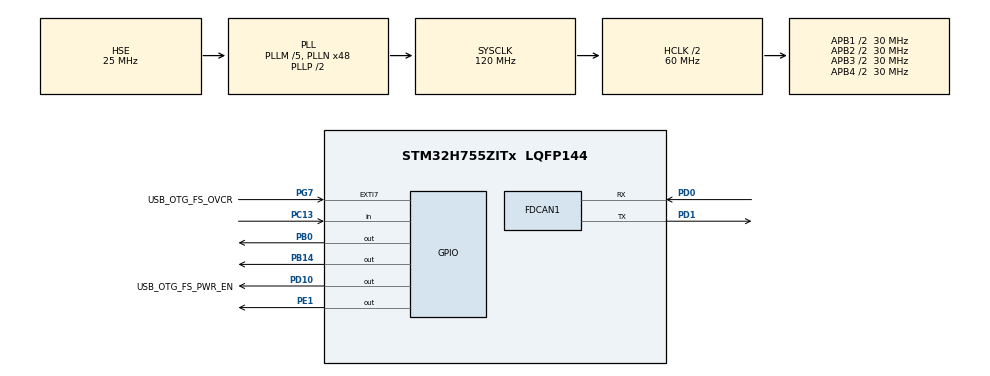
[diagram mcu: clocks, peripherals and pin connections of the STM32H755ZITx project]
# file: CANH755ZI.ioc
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CortexM4.IPs=FATFS_M4\:I,FREERTOS_M4\:I,IWDG2\:I,RCC,WWDG2\:I,DMA,BDMA,MDMA,NVIC2\:I,ETH,USART3,DEBUG,PDM2PCM_M4\:I,PWR,RESMGR_UTILITY,SYS_M4\:I,USB_DEVICE_M4\:I,USB_HOST_M4\:I,CORTEX_M4\:I,GPIO,OPENAMP_M4\:I,VREFBUF,NUCLEO-H755ZI-Q
CortexM7.IPs=FATFS_M7\:I,FREERTOS_M7\:I,IWDG1\:I,RCC\:I,WWDG1\:I,DMA\:I,BDMA\:I,MDMA\:I,NVIC1\:I,ETH\:I,USART3\:I,USB_OTG_FS\:I,SYS\:I,CORTEX_M7\:I,DEBUG\:I,PDM2PCM_M7\:I,PWR\:I,RESMGR_UTILITY\:I,USB_DEVICE_M7\:I,USB_HOST_M7\:I,GPIO\:I,OPENAMP_M7\:I,VREFBUF\:I,NUCLEO-H755ZI-Q\:I,FDCAN1\:I
FDCAN1.AutoRetransmission=ENABLE
FDCAN1.CalculateBaudRateNominal=625000
FDCAN1.CalculateTimeBitNominal=1600
FDCAN1.CalculateTimeQuantumNominal=40.0
FDCAN1.NominalPrescaler=1
FDCAN1.NominalSyncJumpWidth=0x8
FDCAN1.NominalTimeSeg1=0x1F
FDCAN1.NominalTimeSeg2=0x8
FDCAN1.RxFifo0ElmtsNbr=1
FDCAN1.StdFiltersNbr=1
FDCAN1.TxFifoQueueElmtsNbr=1
Mcu.Family=STM32H7
Mcu.Name=STM32H755ZITx
Mcu.Package=LQFP144
NUCLEO-H755ZI-Q.BUTTON=1
NUCLEO-H755ZI-Q.Bsp_Common_DEMO=true
NUCLEO-H755ZI-Q.LD1=true
NUCLEO-H755ZI-Q.LD2=true
NUCLEO-H755ZI-Q.LD3=true
NUCLEO-H755ZI-Q.VCP=true
NVIC1.EXTI15_10_IRQn=true\:0\:0\:false\:false\:true\:false\:true\:true
NVIC1.PriorityGroup=NVIC_PRIORITYGROUP_4
NVIC2.PriorityGroup=NVIC_PRIORITYGROUP_4
PA1.PinAttribute=CortexM7
PA1.Signal=ETH_REF_CLK
PA11.PinAttribute=CortexM7
PA11.Signal=USB_OTG_FS_DM
PA12.PinAttribute=CortexM7
PA12.Signal=USB_OTG_FS_DP
PA2.PinAttribute=CortexM7
PA2.Signal=ETH_MDIO
PA7.PinAttribute=CortexM7
PA7.Signal=ETH_CRS_DV
PA8.PinAttribute=CortexM7
PA8.Signal=USB_OTG_FS_SOF
PA9.PinAttribute=CortexM7
PA9.Signal=USB_OTG_FS_VBUS
PB0.Signal=GPIO_Output
PB13.PinAttribute=CortexM7
PB13.Signal=ETH_TXD1
PB14.Signal=GPIO_Output
PC1.PinAttribute=CortexM7
PC1.Signal=ETH_MDC
PC13.Signal=GPIO_Input
PC14-OSC32_IN\ (OSC32_IN).PinAttribute=Free
PC14-OSC32_IN\ (OSC32_IN).Signal=RCC_OSC32_IN
PC15-OSC32_OUT\ (OSC32_OUT).PinAttribute=Free
PC15-OSC32_OUT\ (OSC32_OUT).Signal=RCC_OSC32_OUT
PC4.PinAttribute=CortexM7
PC4.Signal=ETH_RXD0
PC5.PinAttribute=CortexM7
PC5.Signal=ETH_RXD1
PD0.Mode=FDCAN_Activate
PD0.PinAttribute=CortexM7
PD0.Signal=FDCAN1_RX
PD1.Mode=FDCAN_Activate
PD1.PinAttribute=CortexM7
PD1.Signal=FDCAN1_TX
PD10.GPIO_Label=USB_OTG_FS_PWR_EN
PD10.PinAttribute=Free
PD10.Signal=GPIO_Output
PD8.Signal=USART3_TX
PD9.Signal=USART3_RX
PE1.Signal=GPIO_Output
PG11.PinAttribute=CortexM7
PG11.Signal=ETH_TX_EN
PG13.PinAttribute=CortexM7
PG13.Signal=ETH_TXD0
PG7.GPIO_Label=USB_OTG_FS_OVCR
PG7.PinAttribute=Free
PG7.Signal=GPXTI7
PH0-OSC_IN\ (PH0).Mode=HSE-External-Oscillator
PH0-OSC_IN\ (PH0).PinAttribute=Free
PH0-OSC_IN\ (PH0).Signal=RCC_OSC_IN
PH1-OSC_OUT\ (PH1).Mode=HSE-External-Oscillator
PH1-OSC_OUT\ (PH1).PinAttribute=Free
PH1-OSC_OUT\ (PH1).Signal=RCC_OSC_OUT
ProjectManager.HeapSize=M4-0x200,M7-0x200
ProjectManager.StackSize=M4-0x400,M7-0x400
ProjectManager.TargetToolchain=STM32CubeIDE
RCC.ADCFreq_Value=50390625
RCC.APB1Freq_Value=30000000
RCC.APB2Freq_Value=30000000
RCC.APB3Freq_Value=30000000
RCC.APB4Freq_Value=30000000
RCC.CortexFreq_Value=120000000
RCC.D1PPRE=RCC_APB3_DIV2
RCC.D2PPRE1=RCC_APB1_DIV2
RCC.D2PPRE2=RCC_APB2_DIV2
RCC.D3PPRE=RCC_APB4_DIV2
RCC.DIVM1=5
RCC.DIVN1=48
RCC.DIVQ1=5
RCC.FDCANCLockSelection=RCC_FDCANCLKSOURCE_HSE
RCC.HCLKFreq_Value=60000000
RCC.HPRE=RCC_HCLK_DIV2
RCC.PLL2FRACN=0
RCC.PLL3FRACN=0
RCC.PLLFRACN=0
RCC.PLLSourceVirtual=RCC_PLLSOURCE_HSE
RCC.SYSCLKFreq_VALUE=120000000
RCC.SYSCLKSource=RCC_SYSCLKSOURCE_PLLCLK
RCC.SupplySource=PWR_DIRECT_SMPS_SUPPLY
RCC.USBFreq_Value=48000000
VP_NUCLEO-H755ZI-Q_VS_BSP_COMMON.Mode=COMMON
VP_SYS_M4_VS_Systick.Mode=SysTick
board=NUCLEO-H755ZI-Q

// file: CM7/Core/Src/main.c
/* USER CODE BEGIN Header */
/**
 ******************************************************************************
 * @file           : main.c
 * @brief          : Main program body
 ******************************************************************************
 * @attention
 *
 * Copyright (c) 2024 STMicroelectronics.
 * All rights reserved.
 *
 * This software is licensed under terms that can be found in the LICENSE file
 * in the root directory of this software component.
 * If no LICENSE file comes with this software, it is provided AS-IS.
 *
 ******************************************************************************
 */
/* USER CODE END Header */
#include "main.h"

/* USER CODE BEGIN PD */

#ifndef HSEM_ID_0
#define HSEM_ID_0 (0U) /* HW semaphore 0*/
#endif

/* USER CODE END PD */

COM_InitTypeDef BspCOMInit;
__IO uint32_t BspButtonState = BUTTON_RELEASED;

FDCAN_HandleTypeDef hfdcan1;

/* USER CODE BEGIN PV */
FDCAN_TxHeaderTypeDef TxHeader;
uint8_t TxData[8];

/* USER CODE END PV */

void SystemClock_Config(void);
static void MX_GPIO_Init(void);
static void MX_FDCAN1_Init(void);

int main(void)
{

/* USER CODE BEGIN Boot_Mode_Sequence_0 */
	int32_t timeout;
/* USER CODE END Boot_Mode_Sequence_0 */

/* USER CODE BEGIN Boot_Mode_Sequence_1 */
	/* Wait until CPU2 boots and enters in stop mode or timeout*/
	timeout = 0xFFFF;
	while ((__HAL_RCC_GET_FLAG(RCC_FLAG_D2CKRDY) != RESET) && (timeout-- > 0))
		;
	if (timeout < 0) {
		Error_Handler();
	}
/* USER CODE END Boot_Mode_Sequence_1 */
  /* MCU Configuration--------------------------------------------------------*/

  /* Reset of all peripherals, Initializes the Flash interface and the Systick. */
  HAL_Init();

  /* Configure the system clock */
  SystemClock_Config();
/* USER CODE BEGIN Boot_Mode_Sequence_2 */
	/* When system initialization is finished, Cortex-M7 will release Cortex-M4 by means of
	 HSEM notification */
	/*HW semaphore Clock enable*/
	__HAL_RCC_HSEM_CLK_ENABLE();
	/*Take HSEM */
	HAL_HSEM_FastTake(HSEM_ID_0);
	/*Release HSEM in order to notify the CPU2(CM4)*/
	HAL_HSEM_Release(HSEM_ID_0, 0);
	/* wait until CPU2 wakes up from stop mode */
	timeout = 0xFFFF;
	while ((__HAL_RCC_GET_FLAG(RCC_FLAG_D2CKRDY) == RESET) && (timeout-- > 0))
		;
	if (timeout < 0) {
		Error_Handler();
	}
/* USER CODE END Boot_Mode_Sequence_2 */

  /* Initialize all configured peripherals */
  MX_GPIO_Init();
  MX_FDCAN1_Init();

  /* Initialize leds */
  BSP_LED_Init(LED_GREEN);
  BSP_LED_Init(LED_YELLOW);
  BSP_LED_Init(LED_RED);

  /* Initialize USER push-button, will be used to trigger an interrupt each time it's pressed.*/
  BSP_PB_Init(BUTTON_USER, BUTTON_MODE_EXTI);

  /* Initialize COM1 port (115200, 8 bits (7-bit data + 1 stop bit), no parity */
  BspCOMInit.BaudRate   = 115200;
  BspCOMInit.WordLength = COM_WORDLENGTH_8B;
  BspCOMInit.StopBits   = COM_STOPBITS_1;
  BspCOMInit.Parity     = COM_PARITY_NONE;
  BspCOMInit.HwFlowCtl  = COM_HWCONTROL_NONE;
  if (BSP_COM_Init(COM1, &BspCOMInit) != BSP_ERROR_NONE)
  {
    Error_Handler();
  }

  /* USER CODE BEGIN BSP */
	/* -- Sample board code to send message over COM1 port ---- */
	printf("Welcome to STM32 world !\n\r");
	/* -- Sample board code to switch on leds ---- */
	BSP_LED_On(LED_GREEN);
	BSP_LED_On(LED_YELLOW);
	BSP_LED_On(LED_RED);
  /* USER CODE END BSP */

  /* Infinite loop */
  /* USER CODE BEGIN WHILE */
	while (1) {

		/* -- Sample board code for User push-button in interrupt mode ---- */
		if (BspButtonState == BUTTON_PRESSED) {
			/* Update button state */
			BspButtonState = BUTTON_RELEASED;
			/* -- Sample board code to toggle leds ---- */
			BSP_LED_Toggle(LED_GREEN);
			BSP_LED_Toggle(LED_YELLOW);
			BSP_LED_Toggle(LED_RED);
			/* ..... Perform your action ..... */
		}

		TxData[0] = 0xA;
		TxData[1] = 0xAD;

		/* Start the Transmission process */
		if (HAL_FDCAN_AddMessageToTxFifoQ(&hfdcan1, &TxHeader, TxData)
				!= HAL_OK) {
			/* Transmission request Error */
			Error_Handler();
		}
		HAL_Delay(10);
    /* USER CODE END WHILE */

	}
}

void SystemClock_Config(void)
{
  RCC_OscInitTypeDef RCC_OscInitStruct = {0};
  RCC_ClkInitTypeDef RCC_ClkInitStruct = {0};

  /** Supply configuration update enable
  */
  HAL_PWREx_ConfigSupply(PWR_DIRECT_SMPS_SUPPLY);

  /** Configure the main internal regulator output voltage
  */
  __HAL_PWR_VOLTAGESCALING_CONFIG(PWR_REGULATOR_VOLTAGE_SCALE3);

  while(!__HAL_PWR_GET_FLAG(PWR_FLAG_VOSRDY)) {}

  /** Initializes the RCC Oscillators according to the specified parameters
  * in the RCC_OscInitTypeDef structure.
  */
  RCC_OscInitStruct.OscillatorType = RCC_OSCILLATORTYPE_HSE;
  RCC_OscInitStruct.HSEState = RCC_HSE_ON;
  RCC_OscInitStruct.PLL.PLLState = RCC_PLL_ON;
  RCC_OscInitStruct.PLL.PLLSource = RCC_PLLSOURCE_HSE;
  RCC_OscInitStruct.PLL.PLLM = 5;
  RCC_OscInitStruct.PLL.PLLN = 48;
  RCC_OscInitStruct.PLL.PLLP = 2;
  RCC_OscInitStruct.PLL.PLLQ = 5;
  RCC_OscInitStruct.PLL.PLLR = 2;
  RCC_OscInitStruct.PLL.PLLRGE = RCC_PLL1VCIRANGE_2;
  RCC_OscInitStruct.PLL.PLLVCOSEL = RCC_PLL1VCOWIDE;
  RCC_OscInitStruct.PLL.PLLFRACN = 0;
  if (HAL_RCC_OscConfig(&RCC_OscInitStruct) != HAL_OK)
  {
    Error_Handler();
  }

  /** Initializes the CPU, AHB and APB buses clocks
  */
  RCC_ClkInitStruct.ClockType = RCC_CLOCKTYPE_HCLK|RCC_CLOCKTYPE_SYSCLK
                              |RCC_CLOCKTYPE_PCLK1|RCC_CLOCKTYPE_PCLK2
                              |RCC_CLOCKTYPE_D3PCLK1|RCC_CLOCKTYPE_D1PCLK1;
  RCC_ClkInitStruct.SYSCLKSource = RCC_SYSCLKSOURCE_PLLCLK;
  RCC_ClkInitStruct.SYSCLKDivider = RCC_SYSCLK_DIV1;
  RCC_ClkInitStruct.AHBCLKDivider = RCC_HCLK_DIV2;
  RCC_ClkInitStruct.APB3CLKDivider = RCC_APB3_DIV2;
  RCC_ClkInitStruct.APB1CLKDivider = RCC_APB1_DIV2;
  RCC_ClkInitStruct.APB2CLKDivider = RCC_APB2_DIV2;
  RCC_ClkInitStruct.APB4CLKDivider = RCC_APB4_DIV2;

  if (HAL_RCC_ClockConfig(&RCC_ClkInitStruct, FLASH_LATENCY_1) != HAL_OK)
  {
    Error_Handler();
  }
}

static void MX_FDCAN1_Init(void)
{

  hfdcan1.Instance = FDCAN1;
  hfdcan1.Init.FrameFormat = FDCAN_FRAME_CLASSIC;
  hfdcan1.Init.Mode = FDCAN_MODE_NORMAL;
  hfdcan1.Init.AutoRetransmission = ENABLE;
  hfdcan1.Init.TransmitPause = DISABLE;
  hfdcan1.Init.ProtocolException = DISABLE;
  hfdcan1.Init.NominalPrescaler = 1;
  hfdcan1.Init.NominalSyncJumpWidth = 0x8;
  hfdcan1.Init.NominalTimeSeg1 = 0x1F;
  hfdcan1.Init.NominalTimeSeg2 = 0x8;
  hfdcan1.Init.DataPrescaler = 1;
  hfdcan1.Init.DataSyncJumpWidth = 1;
  hfdcan1.Init.DataTimeSeg1 = 1;
  hfdcan1.Init.DataTimeSeg2 = 1;
  hfdcan1.Init.MessageRAMOffset = 0;
  hfdcan1.Init.StdFiltersNbr = 1;
  hfdcan1.Init.ExtFiltersNbr = 0;
  hfdcan1.Init.RxFifo0ElmtsNbr = 1;
  hfdcan1.Init.RxFifo0ElmtSize = FDCAN_DATA_BYTES_8;
  hfdcan1.Init.RxFifo1ElmtsNbr = 0;
  hfdcan1.Init.RxFifo1ElmtSize = FDCAN_DATA_BYTES_8;
  hfdcan1.Init.RxBuffersNbr = 0;
  hfdcan1.Init.RxBufferSize = FDCAN_DATA_BYTES_8;
  hfdcan1.Init.TxEventsNbr = 0;
  hfdcan1.Init.TxBuffersNbr = 0;
  hfdcan1.Init.TxFifoQueueElmtsNbr = 1;
  hfdcan1.Init.TxFifoQueueMode = FDCAN_TX_FIFO_OPERATION;
  hfdcan1.Init.TxElmtSize = FDCAN_DATA_BYTES_8;
  if (HAL_FDCAN_Init(&hfdcan1) != HAL_OK)
  {
    Error_Handler();
  }
  /* USER CODE BEGIN FDCAN1_Init 2 */

	if (HAL_FDCAN_Start(&hfdcan1) != HAL_OK) {
		/* Start Error */
		Error_Handler();
	}

	TxHeader.Identifier = 0x321;
	TxHeader.IdType = FDCAN_STANDARD_ID;
	TxHeader.TxFrameType = FDCAN_DATA_FRAME;
	TxHeader.DataLength = FDCAN_DLC_BYTES_2;
	TxHeader.ErrorStateIndicator = FDCAN_ESI_ACTIVE;
	TxHeader.BitRateSwitch = FDCAN_BRS_OFF;
	TxHeader.FDFormat = FDCAN_CLASSIC_CAN;
	TxHeader.TxEventFifoControl = FDCAN_NO_TX_EVENTS;
	TxHeader.MessageMarker = 0;

  /* USER CODE END FDCAN1_Init 2 */

}

static void MX_GPIO_Init(void)
{
  GPIO_InitTypeDef GPIO_InitStruct = {0};

  /* GPIO Ports Clock Enable */
  __HAL_RCC_GPIOC_CLK_ENABLE();
  __HAL_RCC_GPIOA_CLK_ENABLE();
  __HAL_RCC_GPIOB_CLK_ENABLE();
  __HAL_RCC_GPIOD_CLK_ENABLE();
  __HAL_RCC_GPIOG_CLK_ENABLE();

  /*Configure GPIO pins : PC1 PC4 PC5 */
  GPIO_InitStruct.Pin = GPIO_PIN_1|GPIO_PIN_4|GPIO_PIN_5;
  GPIO_InitStruct.Mode = GPIO_MODE_AF_PP;
  GPIO_InitStruct.Pull = GPIO_NOPULL;
  GPIO_InitStruct.Speed = GPIO_SPEED_FREQ_LOW;
  GPIO_InitStruct.Alternate = GPIO_AF11_ETH;
  HAL_GPIO_Init(GPIOC, &GPIO_InitStruct);

  /*Configure GPIO pins : PA1 PA2 PA7 */
  GPIO_InitStruct.Pin = GPIO_PIN_1|GPIO_PIN_2|GPIO_PIN_7;
  GPIO_InitStruct.Mode = GPIO_MODE_AF_PP;
  GPIO_InitStruct.Pull = GPIO_NOPULL;
  GPIO_InitStruct.Speed = GPIO_SPEED_FREQ_LOW;
  GPIO_InitStruct.Alternate = GPIO_AF11_ETH;
  HAL_GPIO_Init(GPIOA, &GPIO_InitStruct);

  /*Configure GPIO pin : PB13 */
  GPIO_InitStruct.Pin = GPIO_PIN_13;
  GPIO_InitStruct.Mode = GPIO_MODE_AF_PP;
  GPIO_InitStruct.Pull = GPIO_NOPULL;
  GPIO_InitStruct.Speed = GPIO_SPEED_FREQ_LOW;
  GPIO_InitStruct.Alternate = GPIO_AF11_ETH;
  HAL_GPIO_Init(GPIOB, &GPIO_InitStruct);

  /*Configure GPIO pins : PA8 PA11 PA12 */
  GPIO_InitStruct.Pin = GPIO_PIN_8|GPIO_PIN_11|GPIO_PIN_12;
  GPIO_InitStruct.Mode = GPIO_MODE_AF_PP;
  GPIO_InitStruct.Pull = GPIO_NOPULL;
  GPIO_InitStruct.Speed = GPIO_SPEED_FREQ_LOW;
  GPIO_InitStruct.Alternate = GPIO_AF10_OTG1_FS;
  HAL_GPIO_Init(GPIOA, &GPIO_InitStruct);

  /*Configure GPIO pins : PG11 PG13 */
  GPIO_InitStruct.Pin = GPIO_PIN_11|GPIO_PIN_13;
  GPIO_InitStruct.Mode = GPIO_MODE_AF_PP;
  GPIO_InitStruct.Pull = GPIO_NOPULL;
  GPIO_InitStruct.Speed = GPIO_SPEED_FREQ_LOW;
  GPIO_InitStruct.Alternate = GPIO_AF11_ETH;
  HAL_GPIO_Init(GPIOG, &GPIO_InitStruct);

}

/**
  * @brief  BSP Push Button callback
  * @param  Button Specifies the pressed button
  * @retval None
  */
void BSP_PB_Callback(Button_TypeDef Button)
{
  if (Button == BUTTON_USER)
  {
    BspButtonState = BUTTON_PRESSED;
  }
}

void Error_Handler(void)
{
	__disable_irq();
	while (1) {
	}
}
